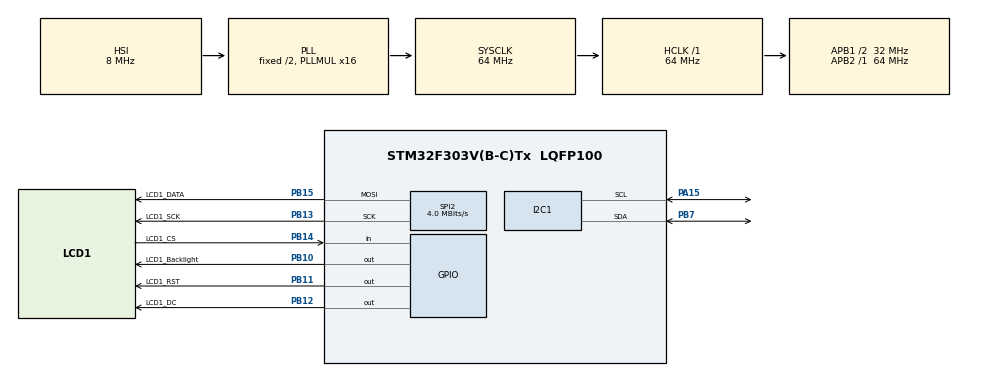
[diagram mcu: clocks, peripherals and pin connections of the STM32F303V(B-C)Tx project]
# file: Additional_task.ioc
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Mcu.Family=STM32F3
Mcu.Name=STM32F303V(B-C)Tx
Mcu.Package=LQFP100
NVIC.PriorityGroup=NVIC_PRIORITYGROUP_4
PA13.Mode=Serial_Wire
PA13.Signal=SYS_JTMS-SWDIO
PA14.Mode=Serial_Wire
PA14.Signal=SYS_JTCK-SWCLK
PA15.Mode=I2C
PA15.Signal=I2C1_SCL
PB10.GPIO_Label=LCD1_Backlight
PB10.Signal=GPIO_Output
PB11.GPIO_Label=LCD1_RST
PB11.Signal=GPIO_Output
PB12.GPIO_Label=LCD1_DC
PB12.Signal=GPIO_Output
PB13.GPIO_Label=LCD1_SCK
PB13.Mode=TX_Only_Simplex_Unidirect_Master
PB13.Signal=SPI2_SCK
PB14.GPIO_Label=LCD1_CS
PB14.Signal=GPIO_Input
PB15.GPIO_Label=LCD1_DATA
PB15.Mode=TX_Only_Simplex_Unidirect_Master
PB15.Signal=SPI2_MOSI
PB7.Mode=I2C
PB7.Signal=I2C1_SDA
ProjectManager.HeapSize=0x200
ProjectManager.StackSize=0x400
ProjectManager.TargetToolchain=SW4STM32
RCC.AHBFreq_Value=64000000
RCC.APB1CLKDivider=RCC_HCLK_DIV2
RCC.APB1Freq_Value=32000000
RCC.APB1TimFreq_Value=64000000
RCC.APB2Freq_Value=64000000
RCC.APB2TimFreq_Value=64000000
RCC.CortexFreq_Value=64000000
RCC.HCLKFreq_Value=64000000
RCC.HSE_VALUE=8000000
RCC.HSI_VALUE=8000000
RCC.LSE_VALUE=32768
RCC.PLLMUL=RCC_PLL_MUL16
RCC.SYSCLKFreq_VALUE=64000000
RCC.SYSCLKSourceVirtual=RCC_SYSCLKSOURCE_PLLCLK
RCC.USBFreq_Value=64000000
SPI2.BaudRatePrescaler=SPI_BAUDRATEPRESCALER_8
SPI2.CalculateBaudRate=4.0 MBits/s
SPI2.DataSize=SPI_DATASIZE_8BIT
SPI2.Direction=SPI_DIRECTION_2LINES
SPI2.Mode=SPI_MODE_MASTER
SPI2.VirtualType=VM_MASTER
board=custom

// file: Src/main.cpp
/**
  ******************************************************************************
  * @file           : main.c
  * @brief          : Main program body
  ******************************************************************************
  ** This notice applies to any and all portions of this file
  * that are not between comment pairs USER CODE BEGIN and
  * USER CODE END. Other portions of this file, whether
  * inserted by the user or by software development tools
  * are owned by their respective copyright owners.
  *
  * COPYRIGHT(c) 2019 STMicroelectronics
  *
  * Redistribution and use in source and binary forms, with or without modification,
  * are permitted provided that the following conditions are met:
  *   1. Redistributions of source code must retain the above copyright notice,
  *      this list of conditions and the following disclaimer.
  *   2. Redistributions in binary form must reproduce the above copyright notice,
  *      this list of conditions and the following disclaimer in the documentation
  *      and/or other materials provided with the distribution.
  *   3. Neither the name of STMicroelectronics nor the names of its contributors
  *      may be used to endorse or promote products derived from this software
  *      without specific prior written permission.
  *
  * THIS SOFTWARE IS PROVIDED BY THE COPYRIGHT HOLDERS AND CONTRIBUTORS "AS IS"
  * AND ANY EXPRESS OR IMPLIED WARRANTIES, INCLUDING, BUT NOT LIMITED TO, THE
  * IMPLIED WARRANTIES OF MERCHANTABILITY AND FITNESS FOR A PARTICULAR PURPOSE ARE
  * DISCLAIMED. IN NO EVENT SHALL THE COPYRIGHT HOLDER OR CONTRIBUTORS BE LIABLE
  * FOR ANY DIRECT, INDIRECT, INCIDENTAL, SPECIAL, EXEMPLARY, OR CONSEQUENTIAL
  * DAMAGES (INCLUDING, BUT NOT LIMITED TO, PROCUREMENT OF SUBSTITUTE GOODS OR
  * SERVICES; LOSS OF USE, DATA, OR PROFITS; OR BUSINESS INTERRUPTION) HOWEVER
  * CAUSED AND ON ANY THEORY OF LIABILITY, WHETHER IN CONTRACT, STRICT LIABILITY,
  * OR TORT (INCLUDING NEGLIGENCE OR OTHERWISE) ARISING IN ANY WAY OUT OF THE USE
  * OF THIS SOFTWARE, EVEN IF ADVISED OF THE POSSIBILITY OF SUCH DAMAGE.
  *
  ******************************************************************************
  */
#include "main.h"
#include "stm32f3xx_hal.h"
#include "i2c.h"
#include "spi.h"
#include "gpio.h"

/* USER CODE BEGIN Includes */
#include "font6x8.h"
#include "Nokia_Display.h"
#include "LCD_Display.h"
#include "DisplayStrategy.h"
/* USER CODE END Includes */

/* USER CODE BEGIN PV */
/* Private variables ---------------------------------------------------------*/

/* USER CODE END PV */

void SystemClock_Config(void);

/* USER CODE BEGIN PFP */
/* Private function prototypes -----------------------------------------------*/

/* USER CODE END PFP */

int main(void)
{

  /* MCU Configuration----------------------------------------------------------*/

  /* Reset of all peripherals, Initializes the Flash interface and the Systick. */
  HAL_Init();

  /* Configure the system clock */
  SystemClock_Config();

  /* Initialize all configured peripherals */
  MX_GPIO_Init();
  MX_SPI2_Init();
  MX_I2C1_Init();
  /* USER CODE BEGIN 2 */
  auto * nokia_display = new Nokia_Display(&hspi2, LCD1_CS_Pin, LCD1_CS_GPIO_Port, LCD1_RST_Pin, LCD1_RST_GPIO_Port, LCD1_DC_Pin, LCD1_DC_GPIO_Port, LCD1_Backlight_Pin, LCD1_Backlight_GPIO_Port);

  nokia_display->change_backlight(true);

  nokia_display->send_data_to_print(0, 0, "Hello World!\n");
  nokia_display->send_number_to_print(0, 10, 1, 10);
  nokia_display->send_number_to_print(0, 20, (double)1.7, 10);
  nokia_display->send_number_to_print(0, 30, (float)1.7, 10);
  HAL_Delay(1000);
  nokia_display->clear();

  HAL_Delay(1000);
  nokia_display->send_data_to_print(0, 0, "Hello World!\n");
  nokia_display->send_number_to_print(0, 10, 1, 10);
  nokia_display->send_number_to_print(0, 20, (double)1.7, 10);
  nokia_display->send_number_to_print(0, 30, (float)1.7, 10);

  HAL_Delay(1000);
  nokia_display->turn_off();

  nokia_display->send_data_to_print(0, 0, "Hello World!\n");
  nokia_display->send_number_to_print(0, 10, 1, 10);
  nokia_display->send_number_to_print(0, 20, (double)1.7, 10);
  nokia_display->send_number_to_print(0, 30, (float)1.7, 10);

  HAL_Delay(1000);
  nokia_display->turn_on();
  nokia_display->send_data_to_print(0, 0, "Hello World!\n");
  nokia_display->send_number_to_print(0, 10, 1, 10);
  nokia_display->send_number_to_print(0, 20, (double)1.7, 10);
  nokia_display->send_number_to_print(0, 30, (float)1.7, 10);

  nokia_display->change_backlight(false);

  auto * lcd_display = new LCD_Display(0x3f<<1, hi2c1);

  lcd_display->send_data_to_print(0, 0, "Hello World!\n");
  lcd_display->send_number_to_print(1, 0, 1, 10);
  lcd_display->send_number_to_print(1, 4, (double)1.7, 10);
  lcd_display->send_number_to_print(1, 8, (float)1.7, 10);

  HAL_Delay(1000);
  lcd_display->clear();

  HAL_Delay(1000);
  lcd_display->turn_off();

  HAL_Delay(1000);
  lcd_display->turn_on();
  lcd_display->send_data_to_print(0, 0, "Hello World!\n");
  lcd_display->send_number_to_print(1, 0, 1, 10);
  lcd_display->send_number_to_print(1, 4, (double)1.7, 10);
  lcd_display->send_number_to_print(1, 8, (float)1.7, 10);

  HAL_Delay(1000);
  lcd_display->send_data_to_print(0, 0, "Hello World!\n");
  lcd_display->send_number_to_print(1, 0, 1, 10);
  lcd_display->send_number_to_print(1, 4, (double)1.7, 10);
  lcd_display->send_number_to_print(1, 8, (float)1.7, 10);
  lcd_display->print();
  lcd_display->change_backlight(false);

  HAL_Delay(1000);
  lcd_display->change_backlight(true);
  /* USER CODE END 2 */

  /* Infinite loop */
  while (1)
  {

  }

}

void SystemClock_Config(void)
{

  RCC_OscInitTypeDef RCC_OscInitStruct;
  RCC_ClkInitTypeDef RCC_ClkInitStruct;
  RCC_PeriphCLKInitTypeDef PeriphClkInit;

    /**Initializes the CPU, AHB and APB busses clocks
    */
  RCC_OscInitStruct.OscillatorType = RCC_OSCILLATORTYPE_HSI;
  RCC_OscInitStruct.HSIState = RCC_HSI_ON;
  RCC_OscInitStruct.HSICalibrationValue = 16;
  RCC_OscInitStruct.PLL.PLLState = RCC_PLL_ON;
  RCC_OscInitStruct.PLL.PLLSource = RCC_PLLSOURCE_HSI;
  RCC_OscInitStruct.PLL.PLLMUL = RCC_PLL_MUL16;
  if (HAL_RCC_OscConfig(&RCC_OscInitStruct) != HAL_OK)
  {
    _Error_Handler(__FILE__, __LINE__);
  }

    /**Initializes the CPU, AHB and APB busses clocks
    */
  RCC_ClkInitStruct.ClockType = RCC_CLOCKTYPE_HCLK|RCC_CLOCKTYPE_SYSCLK
                              |RCC_CLOCKTYPE_PCLK1|RCC_CLOCKTYPE_PCLK2;
  RCC_ClkInitStruct.SYSCLKSource = RCC_SYSCLKSOURCE_PLLCLK;
  RCC_ClkInitStruct.AHBCLKDivider = RCC_SYSCLK_DIV1;
  RCC_ClkInitStruct.APB1CLKDivider = RCC_HCLK_DIV2;
  RCC_ClkInitStruct.APB2CLKDivider = RCC_HCLK_DIV1;

  if (HAL_RCC_ClockConfig(&RCC_ClkInitStruct, FLASH_LATENCY_2) != HAL_OK)
  {
    _Error_Handler(__FILE__, __LINE__);
  }

  PeriphClkInit.PeriphClockSelection = RCC_PERIPHCLK_I2C1;
  PeriphClkInit.I2c1ClockSelection = RCC_I2C1CLKSOURCE_HSI;
  if (HAL_RCCEx_PeriphCLKConfig(&PeriphClkInit) != HAL_OK)
  {
    _Error_Handler(__FILE__, __LINE__);
  }

    /**Configure the Systick interrupt time
    */
  HAL_SYSTICK_Config(HAL_RCC_GetHCLKFreq()/1000);

    /**Configure the Systick
    */
  HAL_SYSTICK_CLKSourceConfig(SYSTICK_CLKSOURCE_HCLK);

  /* SysTick_IRQn interrupt configuration */
  HAL_NVIC_SetPriority(SysTick_IRQn, 0, 0);
}

void _Error_Handler(char *file, int line)
{
  while(1)
  {
  }
}

/************************ (C) COPYRIGHT STMicroelectronics *****END OF FILE****/
